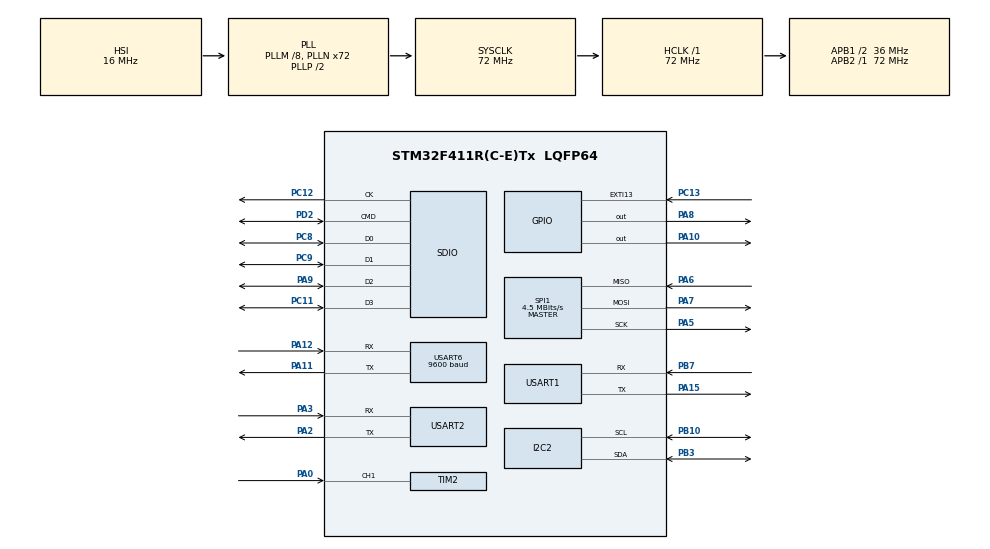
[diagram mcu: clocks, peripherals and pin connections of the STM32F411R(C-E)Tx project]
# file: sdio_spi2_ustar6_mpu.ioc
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Dma.Request0=SDIO_TX
Dma.Request1=SDIO_RX
Dma.SDIO_RX.1.Direction=DMA_PERIPH_TO_MEMORY
Dma.SDIO_RX.1.FIFOMode=DMA_FIFOMODE_ENABLE
Dma.SDIO_RX.1.FIFOThreshold=DMA_FIFO_THRESHOLD_FULL
Dma.SDIO_RX.1.Instance=DMA2_Stream6
Dma.SDIO_RX.1.MemBurst=DMA_MBURST_INC4
Dma.SDIO_RX.1.MemDataAlignment=DMA_MDATAALIGN_WORD
Dma.SDIO_RX.1.MemInc=DMA_MINC_ENABLE
Dma.SDIO_RX.1.Mode=DMA_PFCTRL
Dma.SDIO_RX.1.PeriphBurst=DMA_PBURST_INC4
Dma.SDIO_RX.1.PeriphDataAlignment=DMA_PDATAALIGN_WORD
Dma.SDIO_RX.1.PeriphInc=DMA_PINC_DISABLE
Dma.SDIO_RX.1.Priority=DMA_PRIORITY_LOW
Dma.SDIO_TX.0.Direction=DMA_MEMORY_TO_PERIPH
Dma.SDIO_TX.0.FIFOMode=DMA_FIFOMODE_ENABLE
Dma.SDIO_TX.0.FIFOThreshold=DMA_FIFO_THRESHOLD_FULL
Dma.SDIO_TX.0.Instance=DMA2_Stream3
Dma.SDIO_TX.0.MemBurst=DMA_MBURST_INC4
Dma.SDIO_TX.0.MemDataAlignment=DMA_MDATAALIGN_WORD
Dma.SDIO_TX.0.MemInc=DMA_MINC_ENABLE
Dma.SDIO_TX.0.Mode=DMA_PFCTRL
Dma.SDIO_TX.0.PeriphBurst=DMA_PBURST_INC4
Dma.SDIO_TX.0.PeriphDataAlignment=DMA_PDATAALIGN_WORD
Dma.SDIO_TX.0.PeriphInc=DMA_PINC_DISABLE
Dma.SDIO_TX.0.Priority=DMA_PRIORITY_LOW
FATFS._MAX_SS=4096
FATFS._USE_LFN=1
Mcu.Family=STM32F4
Mcu.Name=STM32F411R(C-E)Tx
Mcu.Package=LQFP64
NVIC.DMA2_Stream3_IRQn=true\:0\:0\:false\:false\:true\:false\:true\:true
NVIC.DMA2_Stream6_IRQn=true\:0\:0\:false\:false\:true\:false\:true\:true
NVIC.EXTI15_10_IRQn=true\:0\:0\:false\:false\:true\:true\:true\:true
NVIC.PriorityGroup=NVIC_PRIORITYGROUP_0
NVIC.SDIO_IRQn=true\:0\:0\:false\:false\:true\:true\:true\:true
NVIC.TIM1_TRG_COM_TIM11_IRQn=true\:0\:2\:false\:false\:true\:true\:true\:true
NVIC.TIM2_IRQn=true\:0\:1\:false\:false\:true\:true\:true\:true
NVIC.USART6_IRQn=true\:0\:1\:false\:false\:true\:true\:true\:true
PA0-WKUP.Signal=S_TIM2_CH1_ETR
PA10.Signal=GPIO_Output
PA11.Mode=Asynchronous
PA11.Signal=USART6_TX
PA12.Mode=Asynchronous
PA12.Signal=USART6_RX
PA13.Mode=Serial_Wire
PA13.Signal=SYS_JTMS-SWDIO
PA14.Mode=Serial_Wire
PA14.Signal=SYS_JTCK-SWCLK
PA15.Mode=Asynchronous
PA15.Signal=USART1_TX
PA2.Mode=Asynchronous
PA2.Signal=USART2_TX
PA3.Mode=Asynchronous
PA3.Signal=USART2_RX
PA5.Mode=Full_Duplex_Master
PA5.Signal=SPI1_SCK
PA6.Mode=Full_Duplex_Master
PA6.Signal=SPI1_MISO
PA7.Mode=Full_Duplex_Master
PA7.Signal=SPI1_MOSI
PA8.Signal=GPIO_Output
PA9.Mode=SD_4_bits_Wide_bus
PA9.Signal=SDIO_D2
PB10.Mode=I2C
PB10.Signal=I2C2_SCL
PB3.Mode=I2C
PB3.Signal=I2C2_SDA
PB7.Mode=Asynchronous
PB7.Signal=USART1_RX
PC11.Mode=SD_4_bits_Wide_bus
PC11.Signal=SDIO_D3
PC12.Mode=SD_4_bits_Wide_bus
PC12.Signal=SDIO_CK
PC13-ANTI_TAMP.Signal=GPXTI13
PC8.Mode=SD_4_bits_Wide_bus
PC8.Signal=SDIO_D0
PC9.Mode=SD_4_bits_Wide_bus
PC9.Signal=SDIO_D1
PD2.Mode=SD_4_bits_Wide_bus
PD2.Signal=SDIO_CMD
ProjectManager.HeapSize=0x200
ProjectManager.StackSize=0x400
ProjectManager.TargetToolchain=STM32CubeIDE
RCC.48MHZClocksFreq_Value=48000000
RCC.AHBFreq_Value=72000000
RCC.APB1CLKDivider=RCC_HCLK_DIV2
RCC.APB1Freq_Value=36000000
RCC.APB1TimFreq_Value=72000000
RCC.APB2Freq_Value=72000000
RCC.APB2TimFreq_Value=72000000
RCC.CortexFreq_Value=72000000
RCC.FLatency-AdvancedSettings=FLASH_LATENCY_2
RCC.HCLKFreq_Value=72000000
RCC.HSE_VALUE=8000000
RCC.HSI_VALUE=16000000
RCC.LSE_VALUE=32768
RCC.PLLM=8
RCC.PLLN=72
RCC.PLLQ=3
RCC.SYSCLKFreq_VALUE=72000000
RCC.SYSCLKSource=RCC_SYSCLKSOURCE_PLLCLK
RCC.VCOOutputFreq_Value=144000000
SDIO.ClockDiv=0
SH.S_TIM2_CH1_ETR.0=TIM2_CH1,Input_Capture1_from_TI1
SPI1.BaudRatePrescaler=SPI_BAUDRATEPRESCALER_16
SPI1.CLKPhase=SPI_PHASE_2EDGE
SPI1.CLKPolarity=SPI_POLARITY_HIGH
SPI1.CalculateBaudRate=4.5 MBits/s
SPI1.Direction=SPI_DIRECTION_2LINES
SPI1.Mode=SPI_MODE_MASTER
SPI1.VirtualType=VM_MASTER
TIM11.Period=20
TIM11.Prescaler=10000-1
TIM2.Channel-Input_Capture1_from_TI1=TIM_CHANNEL_1
TIM2.Period=900000-1
TIM2.Prescaler=72-1
USART1.VirtualMode=VM_ASYNC
USART2.VirtualMode=VM_ASYNC
USART6.BaudRate=9600
USART6.VirtualMode=VM_ASYNC
VP_FATFS_VS_SDIO.Mode=SDIO
VP_TIM11_VS_ClockSourceINT.Mode=Enable_Timer
VP_TIM2_VS_ClockSourceINT.Mode=Internal
board=NUCLEO-F411RE

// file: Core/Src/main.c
/* USER CODE BEGIN Header */
/**
 * Este es el código que tiene comunicación SPI para el adxl
  ******************************************************************************
  * @file           : main.c
  * @brief          : Main program body
  ******************************************************************************
  * @attention
  *
  * Copyright (c) 2022 STMicroelectronics.
  * All rights reserved.
  *
  * This software is licensed under terms that can be found in the LICENSE file
  * in the root directory of this software component.
  * If no LICENSE file comes with this software, it is provided AS-IS.
  *
  ******************************************************************************
  */
/* USER CODE END Header */
#include "main.h"
#include "fatfs.h"

/* USER CODE BEGIN Includes */
#include "string.h"
#include "stdio.h"
#include "math.h"
#include "micros.h"
#include <stdbool.h>
/* USER CODE END Includes */

I2C_HandleTypeDef hi2c2;

SD_HandleTypeDef hsd;
DMA_HandleTypeDef hdma_sdio_tx;
DMA_HandleTypeDef hdma_sdio_rx;

SPI_HandleTypeDef hspi1;

TIM_HandleTypeDef htim2;
TIM_HandleTypeDef htim11;

UART_HandleTypeDef huart1;
UART_HandleTypeDef huart2;
UART_HandleTypeDef huart6;

void SystemClock_Config(void);
static void MX_GPIO_Init(void);
static void MX_DMA_Init(void);
static void MX_SDIO_SD_Init(void);
static void MX_USART2_UART_Init(void);
static void MX_TIM2_Init(void);
static void MX_TIM11_Init(void);
static void MX_SPI1_Init(void);
static void MX_USART6_UART_Init(void);
static void MX_I2C2_Init(void);
static void MX_USART1_UART_Init(void);

/* USER CODE BEGIN 0 */

/* Mensajes NMEA */
char msgSet5hz[14] 		= {0xB5,0x62,0x06,0x08,0x06,0x00,0xC8,0x00,0x01,0x00,0x01,0x00,0xDE,0x6A}; // Mensaje para configurar el envío de datos a 5 Hz
char msgDisableGGA[16] 	= {0xB5,0x62,0x06,0x01,0x08,0x00,0xF0,0x00,0x00,0x00,0x00,0x00,0x00,0x00,0xFF,0x23}; // Mensaje para desabilitar GGA
char msgDisableGLL[16] 	= {0xB5,0x62,0x06,0x01,0x08,0x00,0xF0,0x01,0x00,0x00,0x00,0x00,0x00,0x00,0x00,0x2A}; // Mensaje para desabilitar GLL
char msgDisableGSA[16] 	= {0xB5,0x62,0x06,0x01,0x08,0x00,0xF0,0x02,0x00,0x00,0x00,0x00,0x00,0x00,0x01,0x31}; // Mensaje para desabilitar GSA
char msgDisableGSV[16] 	= {0xB5,0x62,0x06,0x01,0x08,0x00,0xF0,0x03,0x00,0x00,0x00,0x00,0x00,0x00,0x02,0x38}; // Mensaje para desabilitar GSV
char msgDisableVTG[16] 	= {0xB5,0x62,0x06,0x01,0x08,0x00,0xF0,0x05,0x00,0x00,0x00,0x00,0x00,0x00,0x04,0x46}; // Mensaje para desabilitar VTG

uint8_t ii=0;
char gpsMsg[128] 				= {0};
uint8_t 	counterGpsReception		= 0;
bool		startMsg 				= false;
uint8_t rxDataUsart6 	= '\0';
char rxbuff[127]   = {0};
uint8_t cero;
int bandera4=0;
int contadoor=0;
//#define adxl_address 0x53<<1  //direccion i2c del acelerometro
#define mpu_address 0xD0 //direccion i2c del acelerometro mpu

//variables para almacenar los datos del acelerometro y el encoder
uint8_t data_rec[6];
uint8_t data_rec2[6];
uint8_t rec;
uint8_t check[1];
int16_t x,y,z,x2,z2;
int16_t y2;
uint32_t encoder;
uint32_t RPM;

float xg, yg, zg;
int16_t gyrox , gyroy, gyroz, temp;

double ang_x_prev,ang_y,ang_y_prev,ang_x,angx,angy,angz;
double VgirosX, VgirosY,VgirosXcum,VgirosYcum;

uint32_t dt,timePrev;

int millis;
uint32_t micros();
//banderas de las interrupciones
int bandera2=0;
int bandera3=0;

//estructuras y variables para el manejo de la sd
FATFS myFatFS;
FIL myFile;
UINT myBytes;
FRESULT fresult;
FRESULT fresult2;
UINT br, bw;

/**** capacity related *****/
FATFS *pfs;
DWORD fre_clust;
uint32_t total, free_space;

//funciones del acelerometro
void adxl_write (uint8_t address, uint8_t value)
{
	uint8_t data[2];
	data[0] = address|0x40;  // multibyte write
	data[1] = value;
	HAL_GPIO_WritePin (GPIOA, GPIO_PIN_8, GPIO_PIN_RESET);  // pull the cs pin low
	HAL_SPI_Transmit (&hspi1, data, 2, 100);  // write data to register
	HAL_GPIO_WritePin (GPIOA, GPIO_PIN_8, GPIO_PIN_SET);  // pull the cs pin high
}

void adxl_read (uint8_t address)
{
	address |= 0x80;  // read operation
	address |= 0x40;  // multibyte read

	HAL_GPIO_WritePin (GPIOA, GPIO_PIN_8, GPIO_PIN_RESET);  // pull the pin low
	HAL_SPI_Transmit (&hspi1, &address, 1, 100);  // send address
	HAL_SPI_Receive (&hspi1, data_rec, 14, 100);  // receive 6 bytes data
	HAL_GPIO_WritePin (GPIOA, GPIO_PIN_8, GPIO_PIN_SET);  // pull the pin high
}

void adxl_init (void)
{
	adxl_write (0x31, 0x00);  // data_format range= +- 2g
	adxl_write (0x2d, 0x00);  // reset all bits
	adxl_write (0x2d, 0x08);  // power_cntl measure and wake up 8hz
	adxl_write(0x2c,0xF);     // output data rate 3200 Hz
}

void GPS_init(void)
{
	sendGpsMsg(msgSet5hz, 14);
	HAL_Delay(100);
	sendGpsMsg(msgDisableGGA, 16);
	HAL_Delay(100);
	sendGpsMsg(msgDisableGLL, 16);
	HAL_Delay(100);
	sendGpsMsg(msgDisableGSA, 16);
	HAL_Delay(100);
	sendGpsMsg(msgDisableGSV, 16);
	HAL_Delay(100);
	sendGpsMsg(msgDisableVTG, 16);
}

void GPS_init2(void)
{
	send_uart6(msgSet5hz);
	send_uart6(msgDisableGGA);
	send_uart6(msgDisableGLL);
	send_uart6(msgDisableGSA);
	send_uart6(msgDisableGSV);
	send_uart6(msgDisableVTG);

	send_uart2(msgSet5hz);
		send_uart2(msgDisableGGA);
		send_uart2(msgDisableGLL);
		send_uart2(msgDisableGSA);
		send_uart2(msgDisableGSV);
		send_uart2(msgDisableVTG);
}

void sendGpsMsg(char *msg, uint8_t length)
{
	for( ii = 0; ii < length; ii ++){
		if(*(msg+ii) != 0x00)
		{
		send_uart (*(msg+ii));
		}
		else
		{
		while(!(USART2->SR&0x0080))
		{

		}
		USART2->DR=(0);

		while(!(USART6->SR&0x0080))
				{

				}
				USART6->DR=(0);
		}

		//writeChar(&handlerUsartGPS,*(msg+i));
	}
}

void mpu_write (uint8_t reg, uint8_t value)
{
uint8_t data2[2];
data2[0] = reg;
data2[1] = value;
HAL_I2C_Master_Transmit(&hi2c2, mpu_address, data2, 2, 10);
}

/// read function

void mpu_Read(uint8_t reg, uint8_t numberofbytes){
	HAL_I2C_Mem_Read(&hi2c2, mpu_address, reg, 1, data_rec, numberofbytes, HAL_MAX_DELAY);

}
void mpu_init(void){
	mpu_Read(117,1);
	mpu_Read(107,1);
	mpu_write(107,0x00); //reset all bits saca del estado de sleep al mpu
	mpu_write(0x19,0x07);    //data de muestreo 1khz
	mpu_write(0x1b,0x00);    //configuracion gyroscopio  +- 2g
	mpu_write(0x1c,0x00);	 //configuracion acelerometro	+2 250°/s

}

//uart1

#define BUFFER_SIZE 1024
char buffer[BUFFER_SIZE];  // to store strings..

int data_b[1];
int i=0;

int bufsize (char *buf)
{
	int i=0;
	while (*buf++ != '\0') i++;
	return i;
}

void clear_buffer (void)
{
	for (int i=0; i<BUFFER_SIZE; i++) buffer[i] = '\0';
}

void send_uart2 (char *string)
{
	uint16_t len = strlen (string);
	HAL_UART_Transmit(&huart2, (uint8_t *) string, len, HAL_MAX_DELAY);  // transmit in blocking mode
}

void send_uart1 (char *string)
{
	uint16_t len = strlen (string);
	HAL_UART_Transmit(&huart1, (uint8_t *) string, len, HAL_MAX_DELAY);  // transmit in blocking mode
}

void send_uart6 (char *string)
{
	uint16_t len = strlen (string);
	HAL_UART_Transmit(&huart6, (uint8_t *) string, len, HAL_MAX_DELAY);  // transmit in blocking mode
}

void send_uart (char *string)
{
//	char datta;
//	sprintf(datta,"%ld",string);
	uint16_t len = strlen (string);
	HAL_UART_Transmit(&huart6, (uint8_t *)&string, 1, HAL_MAX_DELAY);  // transmit in blocking mode
	HAL_UART_Transmit(&huart2, (uint8_t *)&string, 1, HAL_MAX_DELAY);  // transmit in blocking mode
}

/* USER CODE END 0 */

int main(void)
{

  /* MCU Configuration--------------------------------------------------------*/

  /* Reset of all peripherals, Initializes the Flash interface and the Systick. */
  HAL_Init();

  /* Configure the system clock */
  SystemClock_Config();

  /* Initialize all configured peripherals */
  MX_GPIO_Init();
  MX_DMA_Init();
  MX_SDIO_SD_Init();
  MX_FATFS_Init();
  MX_USART2_UART_Init();
  MX_TIM2_Init();
  MX_TIM11_Init();
  MX_SPI1_Init();
  MX_USART6_UART_Init();
  MX_I2C2_Init();
  MX_USART1_UART_Init();
  /* USER CODE BEGIN 2 */
  HAL_Delay(100);
  DWT_Init();
 //adxl_init();
 MX_USART6_UART_Init();
 GPS_init();
 mpu_init();

  //activacion INT del tmr11 por desbordamiento
  HAL_TIM_Base_Start_IT(&htim11);
  HAL_TIM_IC_Start_IT(&htim2, TIM_CHANNEL_1);
  __HAL_TIM_ENABLE_IT(&htim2, TIM_IT_UPDATE );
  HAL_UART_Receive_IT(&huart6, &rxDataUsart6, 1);
	//send_uart2("conexxion");

  /* USER CODE END 2 */

  /* Infinite loop */
  while (1)
  {

    /* USER CODE BEGIN 3 */
	 // HAL_UART_Receive_IT(&huart6, &rxDataUsart6, 1);
//	  if(rxDataUsart6 == '$'){
//	  	  		  		  	  		  			startMsg = true;
//	  	  		  		  	  		  		}
//
//	  	  		  		  	  		  		if(rxDataUsart6 != '\0' && startMsg)
//	  	  		  		  	  		  		{
//	  	  		  		  	  		  			if(rxDataUsart6 != '\n')
//	  	  		  		  	  		  			{
//	  	  		  		  	  		  				gpsMsg[counterGpsReception] = rxDataUsart6;
//	  	  		  		  	  		  				counterGpsReception ++;
//
//	  	  		  		  	  		  			}
//	  	  		  		  	  		  			else if(rxDataUsart6 == '\n')
//	  	  		  		  	  		  			{
//	  	  		  		  	  		  				gpsMsg[counterGpsReception] = '\n';
//	  	  		  		  	  		  			//	writeMsg(&handlerCommTerminal,gpsMsg);
//	  	  		  		  	  		  			send_uart2(gpsMsg);
//	  	  		  		  	  		  				counterGpsReception = 0;
//	  	  		  		  	  		  //				sprintf (buffer, "4sdf65s4f65s4df654d6f5");
//	  	  		  		  	  		  				//f_puts(gpsMsg, &myFile);
//	  	  		  		  	  		  			}
//	  	  		  		  	  		  		rxDataUsart6 = '\0';
//
//	  	  		  		  	  		  		}

	  if(encoder){
	 	  RPM=encoder/1000000;	//RPS
	 	  }
	 	  else RPM=0;

	  /*HAL_UART_Receive_IT(&huart1, data_b, 1);
	  if(data_b[0]==49){
	  HAL_GPIO_WritePin(GPIOA, GPIO_PIN_9, GPIO_PIN_SET);
	  }
	  else if(data_b[0]==48){
	  HAL_GPIO_WritePin(GPIOA, GPIO_PIN_9, GPIO_PIN_RESET);
	  }*/

	  	if(bandera3){
	  	bandera3=0;

	  	if(HAL_GPIO_ReadPin(GPIOA, GPIO_PIN_10)){

	  		HAL_TIM_Base_Stop(TIM11);

	  		if((fresult2=f_mount(&myFatFS, "/",1)) == FR_OK)

	  		{
	  			HAL_Delay(100);
	  			send_uart2 ("SD CARD montada satisfactoriamiente\n");
	  			char myFileName[]="file1.txt";
	  			 /*************** Card capacity details ********************/
	  						  /* Check free space */
	  						  	f_getfree("", &fre_clust, &pfs);
	  						  	clear_buffer();
	  						  	total = (uint32_t)((pfs->n_fatent - 2) * pfs->csize * 0.5);
	  						  	sprintf (buffer, "SD CARD Total Size: \t%lu\n",total);
	  						  	send_uart2(buffer);

	  						  	clear_buffer();
	  						  	free_space = (uint32_t)(fre_clust * pfs->csize * 0.5);
	  						  	sprintf (buffer, "SD CARD Free Space: \t%lu\n\n",free_space);
	  						  	send_uart2(buffer);
	  						  clear_buffer();

	  						millis=micros();
							sprintf (buffer, "%iA",millis);
							send_uart1(buffer);
							send_uart2(buffer);
							clear_buffer();
							HAL_Delay(100);

	  			if ((fresult=f_open(&myFile,myFileName,FA_OPEN_APPEND| FA_READ | FA_WRITE)) == FR_OK) send_uart2("Archivo abierto\n");
	  			else {
	  						  	  send_uart2("El archivo no pudo ser abierto...\n\n");}

	  			/* if ((fresult=f_open(&myFile,myFileName,FA_CREATE_ALWAYS| FA_READ | FA_WRITE)) == FR_OK)
	  			{
	  				fresult=f_lseek(&myFile, f_size(&myFile));
	  				clear_buffer();
	  				sprintf (buffer, "datos f_lseek: %i \n\n",fresult);
	  				send_uart2(buffer);

	  				char myData[] = "Esto es lo que estoy escribiendo al archivo";
	  				//if((fresult=f_write(&myFile,myData,sizeof(myData),&myBytes)) == FR_OK)

	  				if((fresult = f_puts("jjhhj \n ", &myFile)) == FR_OK)
	  				{
	  					//clear_buffer();
	  					send_uart2 ("ERROR!!! in escribir al archivo SD CARD...\n");
	  					//sprintf (buffer, "Numero de error: %i \n\n",fresult);
	  					//send_uart2(buffer);
	  				}

	  				clear_buffer();
	  				send_uart2 ("Se escribio satisfactoriamente\n");
	  				sprintf (buffer, "datos escritos: %i \n\n",fresult);
	  				send_uart2(buffer);

	  				f_close(&myFile);
	  				fresult = f_mount(NULL, "/", 1);
	  					if (fresult == FR_OK) send_uart2 ("SD CARD UNMOUNTED successfully...\n");
	  					else send_uart2("error!!! in UNMOUNTING SD CARD\n");

	  			}
	  			else{
	  				send_uart2 ("ERROR!!! en abrir el archivo\n");
	  				sprintf (buffer, "Numero de error: %i \n\n",fresult);
	  				send_uart2(buffer);

	  			} */

	  			HAL_TIM_Base_Start(TIM11);
	  			HAL_Delay(100);

	  		}
	  		else
	  		{
	  			clear_buffer();
	  			send_uart2 ("ERROR!!! in mounting SD CARD...\n");
	  			sprintf (buffer, "Numero de error: %i \n\n",fresult2);
	  			send_uart2(buffer);

	  			}
	  	}
else if(!HAL_GPIO_ReadPin(GPIOA, GPIO_PIN_10)){
	  			/* Close file */
						HAL_TIM_Base_Stop(TIM11);
							f_close(&myFile);

	  					  	clear_buffer();

	  					  	/* Unmount SDCARD */
	  					    	fresult = f_mount(NULL, "/", 1);
	  					    	HAL_Delay(100);
	  					    	if (fresult == FR_OK) send_uart2 ("SD CARD UNMOUNTED successfully...\n");

	  					    	millis=micros();
	  					    	sprintf (buffer, "%iB",millis);
	  					    	send_uart1(buffer);
	  					    	send_uart2(buffer);
	  					    	clear_buffer();

	  					    	HAL_TIM_Base_Start(TIM11);

	  		}

	  	}

	  	if(bandera2){			//bandera asociada a la interrupion por desbordamiento del tmr11 (0.0138s)
	  		HAL_TIM_Base_Stop(TIM11);
	  		bandera2=0;

	  //sprintf (buffer, "estoy enviando las RPM:%i \n",RPM);
	  //send_uart2(buffer);
	  //clear_buffer();
	  		millis=micros();
	  		/*millis=HAL_GetTick();
	  		sprintf (buffer, "lectura adxl: %i \n",millis);
	  		send_uart2(buffer);
	  		clear_buffer();*/
	  		//adxl_read(0x32);
	  		 // 		x2 = (data_rec[1]<<8) | data_rec[0];
	  		  	//    y2 = (data_rec[3]<<8) | data_rec[2];
	  		  		//z2 = (data_rec[5]<<8) | data_rec[4];

	  		  	millis=micros();

	  		  	 mpu_Read(0x3b,6);
	  		  	millis=micros();
	  		  			  	  	  x = (int16_t)(data_rec[0]<<8 | data_rec[1]);
	  		  			  	millis=micros();
	  		  			  		  y = (int16_t)(data_rec[2]<<8 | data_rec[3]);
	  		  			  	millis=micros();
	  		  			  		  z = (int16_t)(data_rec[4]<<8 | data_rec[5]);
	  		  			  	millis=micros();

	  		  	mpu_Read(0x43,6);
	  		  gyrox = (int16_t)(data_rec[0]<<8 | data_rec[1]);
	  		  gyroy = (int16_t)(data_rec[2]<<8 | data_rec[3]);
	  		 gyroz = (int16_t)(data_rec[4]<<8 | data_rec[5]);

	  		 	/*		  		  //angulos inclinacion se calculan por pyhton ya que son demorados para el mCU
	  		  					  angx=atan(-x/(sqrt(pow(y,2)+pow(z,2))))*(180.0/3.14159);
	  		  					  angy=atan(y/(sqrt(pow(x,2)+pow(z,2))))*(180.0/3.14159);
	  		  					  angz=atan((pow(z,2))/(sqrt(pow(y,2)+pow(x,2))));

	  		  			  	millis=micros();
	  		  			  		VgirosX = gyrox*(250.0/32768.0);
	  		  			  		VgirosY = gyroy*(250.0/32768.0);

	  		  			  		dt = (micros() - timePrev)/1000000.0;
	  		  			  		timePrev = micros();

	  		  			  		ang_x = 0.98*(ang_x_prev+(VgirosX)*dt) + 0.02*angx;
	  		  			  		ang_y = 0.98*(ang_y_prev+(VgirosY)*dt) + 0.02*angy;

	  		  			  		ang_x_prev = ang_x;
	  		  			  		ang_y_prev = ang_y;

*/

	  		  		//gyrox = x;
	  		  		//gyroy = y;
	  		  		//gyroz = z;

 //temp= (data_rec[6]<<8) | data_rec[7];

	  		  	HAL_TIM_Base_Start(TIM11);
	  		if(HAL_GPIO_ReadPin(GPIOA, GPIO_PIN_10)){

	  			    HAL_TIM_Base_Stop(TIM11);

	  //			    sprintf(buffer, "x: %f  y: %f   z; %f \n \n",xg,yg,zg);
	  //			   			    		  		send_uart2(buffer);
	  //			   			    		  		clear_buffer();

	  			    //sprintf(buffer, "angx: %f  angy: %f   angz; %f \n \n",angx,angy,angz);
	  //			    		  		send_uart2(buffer);
	  //			    		  		f_lseek(&fil, f_size(&fil));
	  //			    		  		fresult = f_puts(buffer, &fil);
	  //			    		  		clear_buffer();

	  		  		millis=micros();
	  		  		/*sprintf (buffer, "escritura a la sd: %i \n",millis);
	  		  		send_uart2(buffer);
	  		  		clear_buffer();*/
//	  		  		  	  		  if(rxDataUsart6 == '$'){
//	  		  		  	  		  			startMsg = true;
//	  		  		  	  		  		}
//
//	  		  		  	  		  		if(rxDataUsart6 != '\0' && startMsg)
//	  		  		  	  		  		{
//	  		  		  	  		  			if(rxDataUsart6 != '\n')
//	  		  		  	  		  			{
//	  		  		  	  		  				gpsMsg[counterGpsReception] = rxDataUsart6;
//	  		  		  	  		  				counterGpsReception ++;
//
//	  		  		  	  		  			}
//	  		  		  	  		  			else if(rxDataUsart6 == '\n')
//	  		  		  	  		  			{
//	  		  		  	  		  				gpsMsg[counterGpsReception] = '\n';
//	  		  		  	  		  			//	writeMsg(&handlerCommTerminal,gpsMsg);
//	  		  		  	  		  			send_uart2(gpsMsg);
//	  		  		  	  		  				counterGpsReception = 0;
//	  		  		  	  		  //				sprintf (buffer, "4sdf65s4f65s4df654d6f5");
//	  		  		  	  		  				//f_puts(gpsMsg, &myFile);
//	  		  		  	  		  			}
//	  		  		  	  		  		rxDataUsart6 = '\0';
//
//	  		  		  	  		  		}
	  		  		sprintf (buffer, "%i %i %i %i %i %i %i \n ",millis,x,y,z,gyrox,gyroy,gyroz);
	  		  		//send_uart2(buffer);
	  		  		//sprintf (buffer, "4sdf65s4f65s4df654d6f5");
	  		  	millis=micros();
	  		  		f_puts(buffer, &myFile);
	  		  		//f_write(&myFile, buffer, bufsize(buffer), &bw);
	  		  	millis=micros();
	  		  	clear_buffer();

	  		HAL_TIM_Base_Start(TIM11);
if(bandera4){
	HAL_TIM_Base_Stop(TIM11);
	bandera4=0;
	//sprintf (buffer, "%c \n ",rxbuff);
	f_puts("\n", &myFile);
	f_puts(rxbuff, &myFile);
	f_puts("\n", &myFile);
	//send_uart2(rxbuff);

	//clear_buffer();
}

	  	    		/*millis=HAL_GetTick();
	  	    		sprintf (buffer, "escritura a la sd: %i \n",millis);
	  	    		send_uart2(buffer);
	  	    		clear_buffer();*/

	  	    		/*if(fresult=255){
	  	    		f_mount(&fs, "/", 1);
	  	    		f_open(&fil, "file1.txt", FA_OPEN_ALWAYS | FA_READ | FA_WRITE);
	  	    		}*/

	  //		        sprintf (buffer, "x2 %d y2 %d z 2%d \n \n",gyrox,gyroy,gyroz);
	  //				f_lseek(&fil, f_size(&fil));
	  //				fresult = f_puts(buffer, &fil);
	  //
	  //				millis=HAL_GetTick();
	  //						  		  		sprintf (buffer, "clo: %i",millis);
	  //						  		  		send_uart(buffer);
	  //						  		  		clear_buffer();

	  		  		HAL_TIM_Base_Start(TIM11);

	  		}

	  	  }

	  	/*  if((bandera1==1) && (HAL_GPIO_ReadPin(GPIOA, GPIO_PIN_9))){

	  		  HAL_TIM_Base_Stop(TIM11);
	  		  HAL_TIM_Base_Stop(TIM10);
	  		  bandera1=0;

	  		  millis=HAL_GetTick();
	  		  		  		sprintf (buffer, "millis: %i",millis);
	  		  		  		send_uart(buffer);
	  		  		  		clear_buffer();

	  		  fresult = f_mount(&fs, "/", 1);
	  		  fresult = f_open(&fil, "file1.txt", FA_OPEN_ALWAYS | FA_READ | FA_WRITE);

	  		  millis=HAL_GetTick();
	  		  		  		  		sprintf (buffer, "duración: %i",millis);
	  		  		  		  		send_uart(buffer);
	  		  		  		  		clear_buffer();

	  		  for(j = 0; j < c_tiempo;j++){

	  		  		  sumx += array_xg[j]*0.010;
	  		  		  sumy += array_yg[j]*0.010;
	  		  		  sumz += array_zg[j]*0.010;

	  		  sprintf (buffer, "c_tiempo: %i",j);
	  		  send_uart(buffer);
	  		  clear_buffer();

	  		  sprintf (buffer, "c_tiempo: %i \n", j);
	  		  f_lseek(&fil, f_size(&fil));
	  		  fresult = f_puts(buffer, &fil);
	  		  clear_buffer();

	  		  millis=HAL_GetTick();
	  		  		  		  		sprintf (buffer, "millis: %i",millis);
	  		  		  		  		send_uart(buffer);
	  		  		  		  		clear_buffer();

	  		  	  }
	  		  millis=HAL_GetTick();
	  				  		  		  		sprintf (buffer, "esto dura: %i",millis);
	  				  		  		  		send_uart(buffer);
	  				  		  		  		clear_buffer();
	  		  sprintf (buffer, "x1: %d \n", array_zg_2[0]);
	  				  	  send_uart(buffer);
	  				  	  clear_buffer();

	  		  sprintf (buffer, "x: %f \n", sumx);
	  		  	  send_uart(buffer);
	  		  	  clear_buffer();

	  		  	  sprintf (buffer, "y: %f \n", sumy);
	  		  	  send_uart(buffer);
	  		  	  clear_buffer();

	  		  	  sprintf (buffer, "z: %f \n\n", sumz);
	  		  	  send_uart(buffer);
	  		  	  clear_buffer();
	  		  c_tiempo=0;
	  		  f_close(&fil);
	  		  		  	// Unmount SDCARD
	  		  			fresult = f_mount(NULL, "/", 1);
	  		  			if (fresult == FR_OK) send_uart ("SD CARD UNMOUNTED successfully...\n");
	  		  		 	HAL_TIM_Base_Start(TIM11);
	  		  		 	HAL_TIM_Base_Start(TIM10);

	  		} */

  }
  /* USER CODE END 3 */
}

void SystemClock_Config(void)
{
  RCC_OscInitTypeDef RCC_OscInitStruct = {0};
  RCC_ClkInitTypeDef RCC_ClkInitStruct = {0};

  /** Configure the main internal regulator output voltage
  */
  __HAL_RCC_PWR_CLK_ENABLE();
  __HAL_PWR_VOLTAGESCALING_CONFIG(PWR_REGULATOR_VOLTAGE_SCALE1);

  /** Initializes the RCC Oscillators according to the specified parameters
  * in the RCC_OscInitTypeDef structure.
  */
  RCC_OscInitStruct.OscillatorType = RCC_OSCILLATORTYPE_HSI;
  RCC_OscInitStruct.HSIState = RCC_HSI_ON;
  RCC_OscInitStruct.HSICalibrationValue = RCC_HSICALIBRATION_DEFAULT;
  RCC_OscInitStruct.PLL.PLLState = RCC_PLL_ON;
  RCC_OscInitStruct.PLL.PLLSource = RCC_PLLSOURCE_HSI;
  RCC_OscInitStruct.PLL.PLLM = 8;
  RCC_OscInitStruct.PLL.PLLN = 72;
  RCC_OscInitStruct.PLL.PLLP = RCC_PLLP_DIV2;
  RCC_OscInitStruct.PLL.PLLQ = 3;
  if (HAL_RCC_OscConfig(&RCC_OscInitStruct) != HAL_OK)
  {
    Error_Handler();
  }

  /** Initializes the CPU, AHB and APB buses clocks
  */
  RCC_ClkInitStruct.ClockType = RCC_CLOCKTYPE_HCLK|RCC_CLOCKTYPE_SYSCLK
                              |RCC_CLOCKTYPE_PCLK1|RCC_CLOCKTYPE_PCLK2;
  RCC_ClkInitStruct.SYSCLKSource = RCC_SYSCLKSOURCE_PLLCLK;
  RCC_ClkInitStruct.AHBCLKDivider = RCC_SYSCLK_DIV1;
  RCC_ClkInitStruct.APB1CLKDivider = RCC_HCLK_DIV2;
  RCC_ClkInitStruct.APB2CLKDivider = RCC_HCLK_DIV1;

  if (HAL_RCC_ClockConfig(&RCC_ClkInitStruct, FLASH_LATENCY_2) != HAL_OK)
  {
    Error_Handler();
  }
}

static void MX_I2C2_Init(void)
{

  hi2c2.Instance = I2C2;
  hi2c2.Init.ClockSpeed = 100000;
  hi2c2.Init.DutyCycle = I2C_DUTYCYCLE_2;
  hi2c2.Init.OwnAddress1 = 0;
  hi2c2.Init.AddressingMode = I2C_ADDRESSINGMODE_7BIT;
  hi2c2.Init.DualAddressMode = I2C_DUALADDRESS_DISABLE;
  hi2c2.Init.OwnAddress2 = 0;
  hi2c2.Init.GeneralCallMode = I2C_GENERALCALL_DISABLE;
  hi2c2.Init.NoStretchMode = I2C_NOSTRETCH_DISABLE;
  if (HAL_I2C_Init(&hi2c2) != HAL_OK)
  {
    Error_Handler();
  }

}

static void MX_SDIO_SD_Init(void)
{

  hsd.Instance = SDIO;
  hsd.Init.ClockEdge = SDIO_CLOCK_EDGE_RISING;
  hsd.Init.ClockBypass = SDIO_CLOCK_BYPASS_DISABLE;
  hsd.Init.ClockPowerSave = SDIO_CLOCK_POWER_SAVE_DISABLE;
  hsd.Init.BusWide = SDIO_BUS_WIDE_1B;
  hsd.Init.HardwareFlowControl = SDIO_HARDWARE_FLOW_CONTROL_DISABLE;
  hsd.Init.ClockDiv = 0;

}

static void MX_SPI1_Init(void)
{

  /* SPI1 parameter configuration*/
  hspi1.Instance = SPI1;
  hspi1.Init.Mode = SPI_MODE_MASTER;
  hspi1.Init.Direction = SPI_DIRECTION_2LINES;
  hspi1.Init.DataSize = SPI_DATASIZE_8BIT;
  hspi1.Init.CLKPolarity = SPI_POLARITY_HIGH;
  hspi1.Init.CLKPhase = SPI_PHASE_2EDGE;
  hspi1.Init.NSS = SPI_NSS_SOFT;
  hspi1.Init.BaudRatePrescaler = SPI_BAUDRATEPRESCALER_16;
  hspi1.Init.FirstBit = SPI_FIRSTBIT_MSB;
  hspi1.Init.TIMode = SPI_TIMODE_DISABLE;
  hspi1.Init.CRCCalculation = SPI_CRCCALCULATION_DISABLE;
  hspi1.Init.CRCPolynomial = 10;
  if (HAL_SPI_Init(&hspi1) != HAL_OK)
  {
    Error_Handler();
  }

}

static void MX_TIM2_Init(void)
{

  TIM_ClockConfigTypeDef sClockSourceConfig = {0};
  TIM_MasterConfigTypeDef sMasterConfig = {0};
  TIM_IC_InitTypeDef sConfigIC = {0};

  htim2.Instance = TIM2;
  htim2.Init.Prescaler = 72-1;
  htim2.Init.CounterMode = TIM_COUNTERMODE_UP;
  htim2.Init.Period = 900000-1;
  htim2.Init.ClockDivision = TIM_CLOCKDIVISION_DIV1;
  htim2.Init.AutoReloadPreload = TIM_AUTORELOAD_PRELOAD_DISABLE;
  if (HAL_TIM_Base_Init(&htim2) != HAL_OK)
  {
    Error_Handler();
  }
  sClockSourceConfig.ClockSource = TIM_CLOCKSOURCE_INTERNAL;
  if (HAL_TIM_ConfigClockSource(&htim2, &sClockSourceConfig) != HAL_OK)
  {
    Error_Handler();
  }
  if (HAL_TIM_IC_Init(&htim2) != HAL_OK)
  {
    Error_Handler();
  }
  sMasterConfig.MasterOutputTrigger = TIM_TRGO_RESET;
  sMasterConfig.MasterSlaveMode = TIM_MASTERSLAVEMODE_DISABLE;
  if (HAL_TIMEx_MasterConfigSynchronization(&htim2, &sMasterConfig) != HAL_OK)
  {
    Error_Handler();
  }
  sConfigIC.ICPolarity = TIM_INPUTCHANNELPOLARITY_RISING;
  sConfigIC.ICSelection = TIM_ICSELECTION_DIRECTTI;
  sConfigIC.ICPrescaler = TIM_ICPSC_DIV1;
  sConfigIC.ICFilter = 0;
  if (HAL_TIM_IC_ConfigChannel(&htim2, &sConfigIC, TIM_CHANNEL_1) != HAL_OK)
  {
    Error_Handler();
  }

}

static void MX_TIM11_Init(void)
{

  htim11.Instance = TIM11;
  htim11.Init.Prescaler = 1000-1;
  htim11.Init.CounterMode = TIM_COUNTERMODE_UP;
  htim11.Init.Period = 20;
  htim11.Init.ClockDivision = TIM_CLOCKDIVISION_DIV1;
  htim11.Init.AutoReloadPreload = TIM_AUTORELOAD_PRELOAD_DISABLE;
  if (HAL_TIM_Base_Init(&htim11) != HAL_OK)
  {
    Error_Handler();
  }

}

static void MX_USART1_UART_Init(void)
{

  huart1.Instance = USART1;
  huart1.Init.BaudRate = 115200;
  huart1.Init.WordLength = UART_WORDLENGTH_8B;
  huart1.Init.StopBits = UART_STOPBITS_1;
  huart1.Init.Parity = UART_PARITY_NONE;
  huart1.Init.Mode = UART_MODE_TX_RX;
  huart1.Init.HwFlowCtl = UART_HWCONTROL_NONE;
  huart1.Init.OverSampling = UART_OVERSAMPLING_16;
  if (HAL_UART_Init(&huart1) != HAL_OK)
  {
    Error_Handler();
  }

}

static void MX_USART2_UART_Init(void)
{

  huart2.Instance = USART2;
  huart2.Init.BaudRate = 115200;
  huart2.Init.WordLength = UART_WORDLENGTH_8B;
  huart2.Init.StopBits = UART_STOPBITS_1;
  huart2.Init.Parity = UART_PARITY_NONE;
  huart2.Init.Mode = UART_MODE_TX_RX;
  huart2.Init.HwFlowCtl = UART_HWCONTROL_NONE;
  huart2.Init.OverSampling = UART_OVERSAMPLING_16;
  if (HAL_UART_Init(&huart2) != HAL_OK)
  {
    Error_Handler();
  }

}

static void MX_USART6_UART_Init(void)
{

  huart6.Instance = USART6;
  huart6.Init.BaudRate = 9600;
  huart6.Init.WordLength = UART_WORDLENGTH_8B;
  huart6.Init.StopBits = UART_STOPBITS_1;
  huart6.Init.Parity = UART_PARITY_NONE;
  huart6.Init.Mode = UART_MODE_TX_RX;
  huart6.Init.HwFlowCtl = UART_HWCONTROL_NONE;
  huart6.Init.OverSampling = UART_OVERSAMPLING_16;
  if (HAL_UART_Init(&huart6) != HAL_OK)
  {
    Error_Handler();
  }

}

static void MX_DMA_Init(void)
{

  /* DMA controller clock enable */
  __HAL_RCC_DMA2_CLK_ENABLE();

  /* DMA interrupt init */
  /* DMA2_Stream3_IRQn interrupt configuration */
  HAL_NVIC_SetPriority(DMA2_Stream3_IRQn, 0, 0);
  HAL_NVIC_EnableIRQ(DMA2_Stream3_IRQn);
  /* DMA2_Stream6_IRQn interrupt configuration */
  HAL_NVIC_SetPriority(DMA2_Stream6_IRQn, 0, 0);
  HAL_NVIC_EnableIRQ(DMA2_Stream6_IRQn);

}

static void MX_GPIO_Init(void)
{
  GPIO_InitTypeDef GPIO_InitStruct = {0};

  /* GPIO Ports Clock Enable */
  __HAL_RCC_GPIOC_CLK_ENABLE();
  __HAL_RCC_GPIOA_CLK_ENABLE();
  __HAL_RCC_GPIOB_CLK_ENABLE();
  __HAL_RCC_GPIOD_CLK_ENABLE();

  /*Configure GPIO pin Output Level */
  HAL_GPIO_WritePin(GPIOA, GPIO_PIN_8|GPIO_PIN_10, GPIO_PIN_RESET);

  /*Configure GPIO pin : PC13 */
  GPIO_InitStruct.Pin = GPIO_PIN_13;
  GPIO_InitStruct.Mode = GPIO_MODE_IT_RISING;
  GPIO_InitStruct.Pull = GPIO_NOPULL;
  HAL_GPIO_Init(GPIOC, &GPIO_InitStruct);

  /*Configure GPIO pins : PA8 PA10 */
  GPIO_InitStruct.Pin = GPIO_PIN_8|GPIO_PIN_10;
  GPIO_InitStruct.Mode = GPIO_MODE_OUTPUT_PP;
  GPIO_InitStruct.Pull = GPIO_NOPULL;
  GPIO_InitStruct.Speed = GPIO_SPEED_FREQ_LOW;
  HAL_GPIO_Init(GPIOA, &GPIO_InitStruct);

  /* EXTI interrupt init*/
  HAL_NVIC_SetPriority(EXTI15_10_IRQn, 0, 0);
  HAL_NVIC_EnableIRQ(EXTI15_10_IRQn);

}

/* USER CODE BEGIN 4 */

void HAL_TIM_IC_CaptureCallback(TIM_HandleTypeDef *htim)
{
  /* Prevent unused argument(s) compilation warning */
  UNUSED(htim);

  /* NOTE : This function should not be modified, when the callback is needed,
            the HAL_TIM_IC_CaptureCallback could be implemented in the user file
   */
  encoder= __HAL_TIM_GET_COUNTER(&htim2);
  __HAL_TIM_SET_COUNTER(&htim2,0);
}

//interrupción del botón
void HAL_GPIO_EXTI_Callback(uint16_t GPIO_Pin)
{
if(GPIO_Pin == GPIO_PIN_13){
HAL_GPIO_TogglePin(GPIOA, GPIO_PIN_10);
bandera3=1;
}
}

//interrupción por desbordamiento del tmr10
void HAL_TIM_PeriodElapsedCallback(TIM_HandleTypeDef *htim){

	if(htim->Instance==TIM2){
		//HAL_GPIO_TogglePin(GPIOC, GPIO_PIN_10);
			encoder=0;
			}
	if(htim->Instance==TIM11){
		//HAL_GPIO_TogglePin(GPIOA, GPIO_PIN_5);
		bandera2=1;
	}

}

void HAL_UART_RxCpltCallback(UART_HandleTypeDef *huart){
if(huart == &huart6){
	HAL_UART_Receive_IT(&huart6, &rxDataUsart6, 1);
if(bandera4==0){
	rxbuff[contadoor]=rxDataUsart6;
	contadoor++;}
if(contadoor==80){
//if(rxbuff[contadoor-1]=='\n'){
bandera4=1;
		contadoor=0;
		//send_uart2(rxbuff);

	}
}
}

/* USER CODE END 4 */

void Error_Handler(void)
{
  __disable_irq();
  while (1)
  {
  }
}
